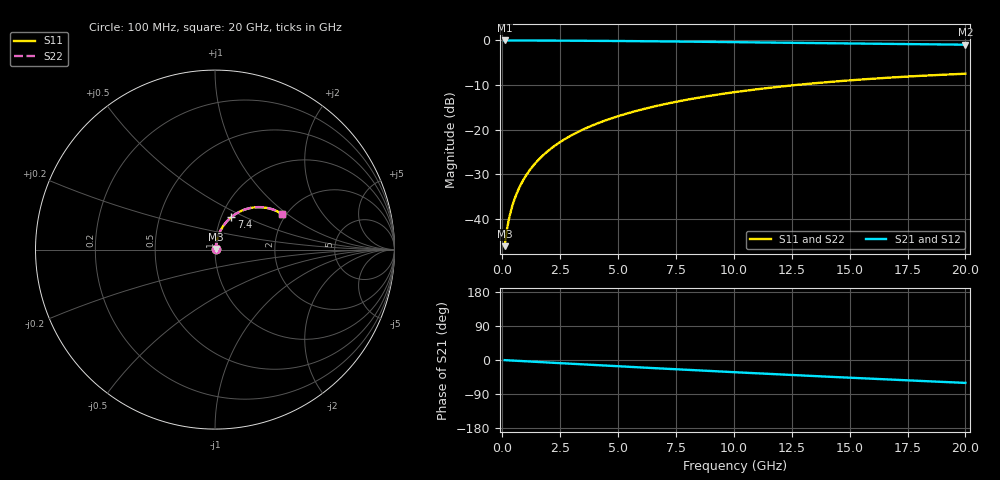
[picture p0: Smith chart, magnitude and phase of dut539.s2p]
! Touchstone file exported from HFSS 2026.1.0
!  File:  C:/ffzhzh/LocalFiles/Ansys_Project_Files/temp_train_TMRDL_539_1783007446_4048.aedt
!  Generated:  11:52:16 PM Jul  2, 2026
!  Design:  TMRDL
!  Project:  temp_train_TMRDL_539_1783007446_4048
! Variables:
!  h_bsmrdl = 2um
!  h_ox = 20um
!  h_rdl = 5um
!  h_sub = 80um
!  h_tmrdl = 3.46um
!  h_tsv = 80um
!  h_via = 3um
!  l_bsmrdl = 300um
!  l_sub = 1371.78um
!  l_tmrdl = 971.78um
!  m_sub = 200um
!  pitch = 53.46um
!  r_tsv = 6um
!  s_tmrdl = 10um
!  w_bsmrdl = 18um
!  w_sub = 500um
!  w_tmrdl = 29.37um
!  x_tsv_center1 = 986.465um
!  x_tsv_center2 = 1304.465um
!  x_tsv_center3 = 2305.615um
!  x_tsv_center4 = 2623.615um
!  x_tsv_center5 = 3624.765um
!  x_tsv_center6 = 3942.765um
# GHz S MA R 50.000000
! Terminal data exported
! Port[1] = TM_RDL1_1_T1
! Port[2] = TM_RDL1_1_T2
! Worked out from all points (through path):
!   200 points, 100 MHz to 20 GHz, reference 50 ohm
!   highest |S21| = -0.03 dB at 100 MHz (marker M1); lowest = -1.0 dB at 20 GHz (marker M2)
!   group delay of S21, straight-line fit = 8.39 ps
!   lowest |S11| = -46.1 dB at 100 MHz (marker M3), VSWR 1.01, Z = 50.4 + j0.335 ohm
!   |S11| at or under -10 dB: start of sweep to 12.68 GHz
!   |S22| runs from -46.1 to -7.5 dB; largest |S21 - S12| = 7.5e-15
!   S11 on the Smith chart (normalised r, x): 100 MHz: 1.01, +0.01; 7.4 GHz: 1.12, +0.42; 20 GHz: 1.90, +0.92
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0.1  0.004971 42.0  0.9963 -0.4  0.9963 -0.4  0.004971 42.0
! Gamma 0 0 0 0
! Port Impedance 50 0 50 0
0.2  0.007623 57.9  0.996 -0.7  0.996 -0.7  0.007623 57.9
0.3  0.0104 64.8  0.9957 -1.0  0.9957 -1.0  0.0104 64.8
0.4  0.01316 68.8  0.9955 -1.4  0.9955 -1.4  0.01316 68.8
0.5  0.01593 71.5  0.9953 -1.7  0.9953 -1.7  0.01592 71.5
0.6  0.0187 73.3  0.9951 -2.0  0.9951 -2.0  0.0187 73.3
0.8  0.02431 75.7  0.9948 -2.7  0.9948 -2.7  0.02431 75.7
1.1  0.03282 77.5  0.9944 -3.7  0.9944 -3.7  0.03282 77.5
1.3  0.03853 78.0  0.9942 -4.4  0.9942 -4.4  0.03852 78.0
1.6  0.0471 78.2  0.9937 -5.4  0.9937 -5.4  0.0471 78.3
2.1  0.06137 77.9  0.9926 -7.0  0.9926 -7.0  0.06137 77.9
2.7  0.07839 76.7  0.9911 -9.0  0.9911 -9.0  0.07839 76.8
3.5  0.1008 74.8  0.9886 -11.6  0.9886 -11.6  0.1008 74.8
4.2  0.12 72.8  0.9859 -13.9  0.9859 -13.9  0.12 72.8
5  0.1415 70.5  0.9825 -16.5  0.9825 -16.5  0.1415 70.5
6.8  0.1878 65.1  0.9734 -22.2  0.9734 -22.2  0.1878 65.1
7.4  0.2026 63.3  0.9701 -24.1  0.9701 -24.1  0.2026 63.3
8.7  0.2333 59.4  0.9624 -28.2  0.9624 -28.2  0.2333 59.4
10.1  0.2644 55.3  0.9537 -32.4  0.9537 -32.4  0.2644 55.3
13.4  0.3293 45.8  0.9323 -42.2  0.9323 -42.2  0.3293 45.9
16.7  0.3821 36.7  0.9116 -51.5  0.9116 -51.5  0.382 36.8
20  0.4229 27.9  0.8934 -60.4  0.8934 -60.4  0.4228 28.1
